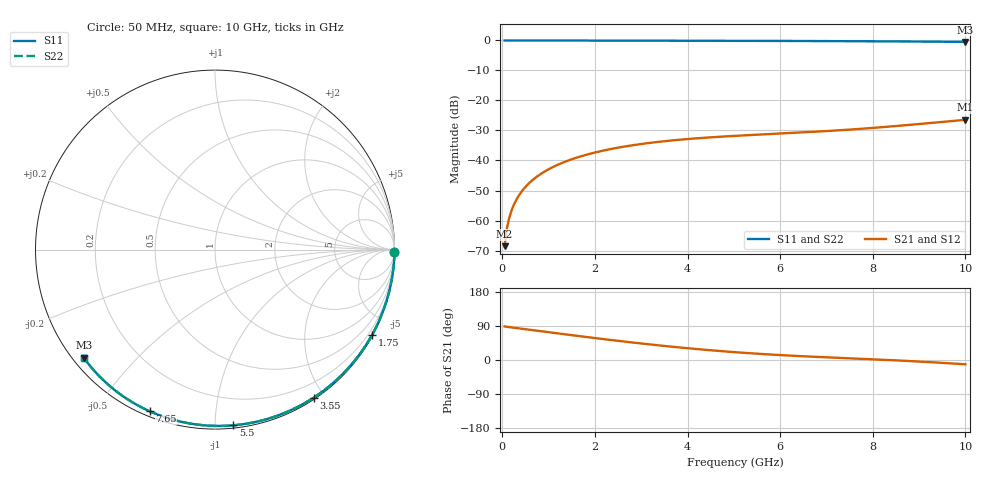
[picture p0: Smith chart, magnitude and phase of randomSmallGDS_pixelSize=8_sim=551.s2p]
! freq	dB(S11)	phase(S11)	dB(S12)	phase(S12)
!  dB(S21)	phase(S21)	dB(S22)	phase(S22)
!S-par simulation data
#  GHz  S  DB  R 50
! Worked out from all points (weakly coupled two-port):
!   200 points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, 50 MHz to 10 GHz, reference 50 ohm
!   highest |S21| = -26.44 dB at 10 GHz (marker M1); lowest = -68.6 dB at 50 MHz (marker M2)
!   lowest |S11| = -0.5 dB at 10 GHz (marker M3), VSWR 37.18, Z = 1.52 - j17.9 ohm
!   |S11| at or under -10 dB: nowhere
!   |S22| runs from -0.5 to 0.0 dB; largest |S21 - S12| = 0
!   S11 on the Smith chart (normalised r, x): 50 MHz: open; 1.75 GHz: 0.03, -3.94; 3.55 GHz: 0.02, -1.87; 5.5 GHz: 0.02, -1.11; 7.65 GHz: 0.02, -0.67; 10 GHz: 0.03, -0.36
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0.05  -0.00 -0.8  -68.55 88.7  -68.55 88.7  -0.00 -0.8
0.1  -0.00 -1.7  -62.58 87.6  -62.58 87.6  -0.00 -1.7
0.15  -0.00 -2.5  -59.11 86.7  -59.11 86.7  -0.00 -2.5
0.2  -0.00 -3.3  -56.65 85.8  -56.65 85.8  -0.00 -3.3
0.25  -0.00 -4.1  -54.74 85.1  -54.74 85.1  -0.00 -4.1
0.35  -0.00 -5.8  -51.86 83.6  -51.86 83.6  -0.00 -5.8
0.5  -0.01 -8.3  -48.81 81.3  -48.81 81.3  -0.01 -8.3
0.7  -0.01 -11.5  -45.93 78.2  -45.93 78.2  -0.01 -11.5
1  -0.02 -16.4  -42.92 73.4  -42.92 73.4  -0.02 -16.4
1.35  -0.03 -22.1  -40.44 67.9  -40.44 67.9  -0.03 -22.1
1.75  -0.04 -28.5  -38.37 61.7  -38.37 61.7  -0.04 -28.5
2.5  -0.05 -40.3  -35.72 50.6  -35.72 50.6  -0.05 -40.3
3.4  -0.07 -54.1  -33.74 38.4  -33.74 38.4  -0.07 -54.1
3.55  -0.08 -56.3  -33.49 36.5  -33.49 36.5  -0.08 -56.3
4.3  -0.10 -67.3  -32.49 27.8  -32.49 27.8  -0.10 -67.3
5.05  -0.12 -77.9  -31.77 20.4  -31.77 20.4  -0.12 -77.9
5.5  -0.14 -84.1  -31.41 16.6  -31.41 16.6  -0.14 -84.1
6.7  -0.19 -100.0  -30.47 8.7  -30.47 8.7  -0.19 -99.9
7.65  -0.25 -112.0  -29.55 3.7  -29.55 3.7  -0.25 -112.0
8.35  -0.30 -120.6  -28.71 -0.1  -28.71 -0.1  -0.30 -120.6
9.2  -0.38 -130.9  -27.57 -5.4  -27.57 -5.4  -0.38 -130.9
10  -0.47 -140.5  -26.44 -11.2  -26.44 -11.2  -0.47 -140.5
